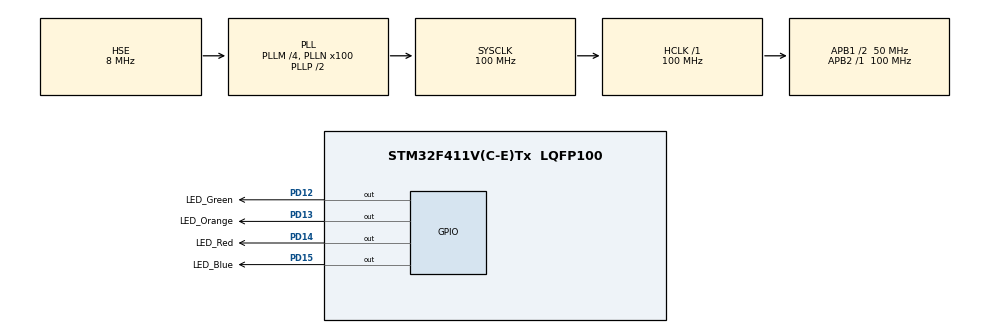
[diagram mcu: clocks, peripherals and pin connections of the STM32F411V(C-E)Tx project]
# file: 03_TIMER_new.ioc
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Mcu.Family=STM32F4
Mcu.Name=STM32F411V(C-E)Tx
Mcu.Package=LQFP100
NVIC.PriorityGroup=NVIC_PRIORITYGROUP_4
NVIC.TIM1_UP_TIM10_IRQn=true\:0\:0\:false\:false\:true
PD12.GPIO_Label=LED_Green
PD12.Signal=GPIO_Output
PD13.GPIO_Label=LED_Orange
PD13.Signal=GPIO_Output
PD14.GPIO_Label=LED_Red
PD14.Signal=GPIO_Output
PD15.GPIO_Label=LED_Blue
PD15.Signal=GPIO_Output
PH0\ -\ OSC_IN.Mode=HSE-External-Oscillator
PH0\ -\ OSC_IN.Signal=RCC_OSC_IN
PH1\ -\ OSC_OUT.Mode=HSE-External-Oscillator
PH1\ -\ OSC_OUT.Signal=RCC_OSC_OUT
ProjectManager.HeapSize=0x200
ProjectManager.StackSize=0x400
ProjectManager.TargetToolchain=SW4STM32
RCC.48MHZClocksFreq_Value=50000000
RCC.AHBFreq_Value=100000000
RCC.APB1CLKDivider=RCC_HCLK_DIV2
RCC.APB1Freq_Value=50000000
RCC.APB1TimFreq_Value=100000000
RCC.APB2Freq_Value=100000000
RCC.APB2TimFreq_Value=100000000
RCC.CortexFreq_Value=100000000
RCC.HCLKFreq_Value=100000000
RCC.HSE_VALUE=8000000
RCC.HSI_VALUE=16000000
RCC.LSE_VALUE=32768
RCC.PLLM=4
RCC.PLLN=100
RCC.PLLSourceVirtual=RCC_PLLSOURCE_HSE
RCC.SYSCLKFreq_VALUE=100000000
RCC.SYSCLKSource=RCC_SYSCLKSOURCE_PLLCLK
RCC.VCOOutputFreq_Value=200000000
TIM10.Period=1999
TIM10.Prescaler=9999
VP_TIM10_VS_ClockSourceINT.Mode=Enable_Timer
board=03_TIMER_new

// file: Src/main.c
/**
  ******************************************************************************
  * File Name          : main.c
  * Description        : Main program body
  ******************************************************************************
  *
  * COPYRIGHT(c) 2017 STMicroelectronics
  *
  * Redistribution and use in source and binary forms, with or without modification,
  * are permitted provided that the following conditions are met:
  *   1. Redistributions of source code must retain the above copyright notice,
  *      this list of conditions and the following disclaimer.
  *   2. Redistributions in binary form must reproduce the above copyright notice,
  *      this list of conditions and the following disclaimer in the documentation
  *      and/or other materials provided with the distribution.
  *   3. Neither the name of STMicroelectronics nor the names of its contributors
  *      may be used to endorse or promote products derived from this software
  *      without specific prior written permission.
  *
  * THIS SOFTWARE IS PROVIDED BY THE COPYRIGHT HOLDERS AND CONTRIBUTORS "AS IS"
  * AND ANY EXPRESS OR IMPLIED WARRANTIES, INCLUDING, BUT NOT LIMITED TO, THE
  * IMPLIED WARRANTIES OF MERCHANTABILITY AND FITNESS FOR A PARTICULAR PURPOSE ARE
  * DISCLAIMED. IN NO EVENT SHALL THE COPYRIGHT HOLDER OR CONTRIBUTORS BE LIABLE
  * FOR ANY DIRECT, INDIRECT, INCIDENTAL, SPECIAL, EXEMPLARY, OR CONSEQUENTIAL
  * DAMAGES (INCLUDING, BUT NOT LIMITED TO, PROCUREMENT OF SUBSTITUTE GOODS OR
  * SERVICES; LOSS OF USE, DATA, OR PROFITS; OR BUSINESS INTERRUPTION) HOWEVER
  * CAUSED AND ON ANY THEORY OF LIABILITY, WHETHER IN CONTRACT, STRICT LIABILITY,
  * OR TORT (INCLUDING NEGLIGENCE OR OTHERWISE) ARISING IN ANY WAY OUT OF THE USE
  * OF THIS SOFTWARE, EVEN IF ADVISED OF THE POSSIBILITY OF SUCH DAMAGE.
  *
  ******************************************************************************
  */
#include "main.h"
#include "stm32f4xx_hal.h"

TIM_HandleTypeDef htim10;

/* USER CODE BEGIN PV */
/* Private variables ---------------------------------------------------------*/

/* USER CODE END PV */

void SystemClock_Config(void);
void Error_Handler(void);
static void MX_GPIO_Init(void);
static void MX_TIM10_Init(void);

/* USER CODE BEGIN PFP */
/* Private function prototypes -----------------------------------------------*/
void HAL_TIM_PeriodElapsedCallback(TIM_HandleTypeDef * htim) {
	static uint8_t counter = 0;
	counter++;
	if (htim->Instance == TIM10) {
		switch (counter) {
		case 1:
			HAL_GPIO_WritePin(LED_Blue_GPIO_Port, LED_Blue_Pin, GPIO_PIN_SET);
			break;
		case 2:
			HAL_GPIO_WritePin(LED_Green_GPIO_Port, LED_Green_Pin, GPIO_PIN_SET);
			break;
		case 3:
			HAL_GPIO_WritePin(LED_Orange_GPIO_Port, LED_Orange_Pin, GPIO_PIN_SET);
			break;
		case 4:
			HAL_GPIO_WritePin(LED_Red_GPIO_Port, LED_Red_Pin, GPIO_PIN_SET);
			break;
		case 5:
			HAL_GPIO_WritePin(LED_Blue_GPIO_Port, LED_Blue_Pin, GPIO_PIN_RESET);
			break;
		case 6:
			HAL_GPIO_WritePin(LED_Green_GPIO_Port, LED_Green_Pin, GPIO_PIN_RESET);
			break;
		case 7:
			HAL_GPIO_WritePin(LED_Orange_GPIO_Port, LED_Orange_Pin, GPIO_PIN_RESET);
			break;
		case 8:
			HAL_GPIO_WritePin(LED_Red_GPIO_Port, LED_Red_Pin, GPIO_PIN_RESET);
			break;
		case 18:
			counter = 0;
			break;
		}

	}

}
/* USER CODE END PFP */

int main(void)
{

  /* MCU Configuration----------------------------------------------------------*/

  /* Reset of all peripherals, Initializes the Flash interface and the Systick. */
  HAL_Init();

  /* Configure the system clock */
  SystemClock_Config();

  /* Initialize all configured peripherals */
  MX_GPIO_Init();
  MX_TIM10_Init();

  /* USER CODE BEGIN 2 */
	HAL_TIM_Base_Start_IT(&htim10);
  /* USER CODE END 2 */

  /* Infinite loop */
  /* USER CODE BEGIN WHILE */
	while (1) {
//	  HAL_GPIO_WritePin(LED_Blue_GPIO_Port, LED_Blue_Pin, GPIO_PIN_SET);
//	  HAL_Delay(250);
//	  HAL_GPIO_WritePin(LED_Green_GPIO_Port, LED_Green_Pin, GPIO_PIN_SET);
//	  HAL_Delay(250);
//	  HAL_GPIO_WritePin(LED_Orange_GPIO_Port, LED_Orange_Pin, GPIO_PIN_SET);
//	  HAL_Delay(250);
//	  HAL_GPIO_WritePin(LED_Red_GPIO_Port, LED_Red_Pin, GPIO_PIN_SET);
//	  HAL_Delay(250);
//	  HAL_GPIO_WritePin(LED_Blue_GPIO_Port, LED_Blue_Pin, GPIO_PIN_RESET);
//	  HAL_Delay(250);
//	  HAL_GPIO_WritePin(LED_Green_GPIO_Port, LED_Green_Pin, GPIO_PIN_RESET);
//	  HAL_Delay(250);
//	  HAL_GPIO_WritePin(LED_Orange_GPIO_Port, LED_Orange_Pin, GPIO_PIN_RESET);
//	  HAL_Delay(250);
//	  HAL_GPIO_WritePin(LED_Red_GPIO_Port, LED_Red_Pin, GPIO_PIN_RESET);
//	  HAL_Delay(2000);
  /* USER CODE END WHILE */

	}

}

/** System Clock Configuration
*/
void SystemClock_Config(void)
{

  RCC_OscInitTypeDef RCC_OscInitStruct;
  RCC_ClkInitTypeDef RCC_ClkInitStruct;

    /**Configure the main internal regulator output voltage
    */
  __HAL_RCC_PWR_CLK_ENABLE();

  __HAL_PWR_VOLTAGESCALING_CONFIG(PWR_REGULATOR_VOLTAGE_SCALE1);

    /**Initializes the CPU, AHB and APB busses clocks
    */
  RCC_OscInitStruct.OscillatorType = RCC_OSCILLATORTYPE_HSE;
  RCC_OscInitStruct.HSEState = RCC_HSE_ON;
  RCC_OscInitStruct.PLL.PLLState = RCC_PLL_ON;
  RCC_OscInitStruct.PLL.PLLSource = RCC_PLLSOURCE_HSE;
  RCC_OscInitStruct.PLL.PLLM = 4;
  RCC_OscInitStruct.PLL.PLLN = 100;
  RCC_OscInitStruct.PLL.PLLP = RCC_PLLP_DIV2;
  RCC_OscInitStruct.PLL.PLLQ = 4;
  if (HAL_RCC_OscConfig(&RCC_OscInitStruct) != HAL_OK)
  {
    Error_Handler();
  }

    /**Initializes the CPU, AHB and APB busses clocks
    */
  RCC_ClkInitStruct.ClockType = RCC_CLOCKTYPE_HCLK|RCC_CLOCKTYPE_SYSCLK
                              |RCC_CLOCKTYPE_PCLK1|RCC_CLOCKTYPE_PCLK2;
  RCC_ClkInitStruct.SYSCLKSource = RCC_SYSCLKSOURCE_PLLCLK;
  RCC_ClkInitStruct.AHBCLKDivider = RCC_SYSCLK_DIV1;
  RCC_ClkInitStruct.APB1CLKDivider = RCC_HCLK_DIV2;
  RCC_ClkInitStruct.APB2CLKDivider = RCC_HCLK_DIV1;

  if (HAL_RCC_ClockConfig(&RCC_ClkInitStruct, FLASH_LATENCY_3) != HAL_OK)
  {
    Error_Handler();
  }

    /**Configure the Systick interrupt time
    */
  HAL_SYSTICK_Config(HAL_RCC_GetHCLKFreq()/1000);

    /**Configure the Systick
    */
  HAL_SYSTICK_CLKSourceConfig(SYSTICK_CLKSOURCE_HCLK);

  /* SysTick_IRQn interrupt configuration */
  HAL_NVIC_SetPriority(SysTick_IRQn, 0, 0);
}

/* TIM10 init function */
static void MX_TIM10_Init(void)
{

  htim10.Instance = TIM10;
  htim10.Init.Prescaler = 9999;
  htim10.Init.CounterMode = TIM_COUNTERMODE_UP;
  htim10.Init.Period = 1999;
  htim10.Init.ClockDivision = TIM_CLOCKDIVISION_DIV1;
  if (HAL_TIM_Base_Init(&htim10) != HAL_OK)
  {
    Error_Handler();
  }

}

/** Configure pins as
        * Analog
        * Input
        * Output
        * EVENT_OUT
        * EXTI
*/
static void MX_GPIO_Init(void)
{

  GPIO_InitTypeDef GPIO_InitStruct;

  /* GPIO Ports Clock Enable */
  __HAL_RCC_GPIOH_CLK_ENABLE();
  __HAL_RCC_GPIOD_CLK_ENABLE();

  /*Configure GPIO pin Output Level */
  HAL_GPIO_WritePin(GPIOD, LED_Green_Pin|LED_Orange_Pin|LED_Red_Pin|LED_Blue_Pin, GPIO_PIN_RESET);

  /*Configure GPIO pins : LED_Green_Pin LED_Orange_Pin LED_Red_Pin LED_Blue_Pin */
  GPIO_InitStruct.Pin = LED_Green_Pin|LED_Orange_Pin|LED_Red_Pin|LED_Blue_Pin;
  GPIO_InitStruct.Mode = GPIO_MODE_OUTPUT_PP;
  GPIO_InitStruct.Pull = GPIO_NOPULL;
  GPIO_InitStruct.Speed = GPIO_SPEED_FREQ_LOW;
  HAL_GPIO_Init(GPIOD, &GPIO_InitStruct);

}

void Error_Handler(void)
{
	while (1) {
	}
}

/************************ (C) COPYRIGHT STMicroelectronics *****END OF FILE****/
